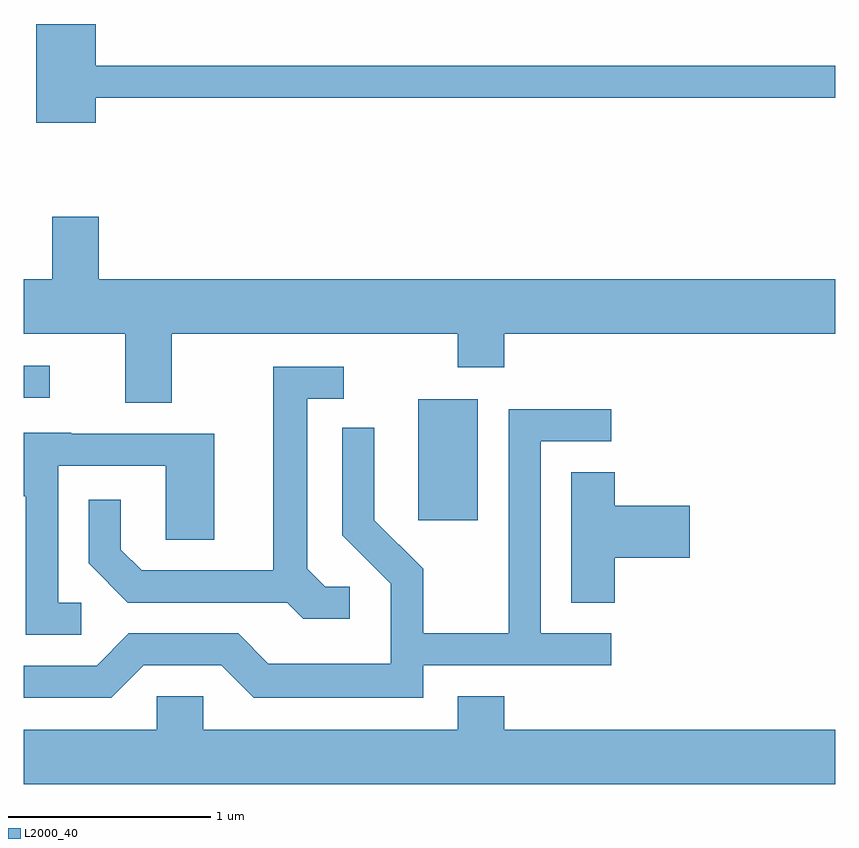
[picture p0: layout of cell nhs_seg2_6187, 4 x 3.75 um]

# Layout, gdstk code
import gdstk
lib = gdstk.Library(unit=1e-6, precision=1e-09)
def R(c, l, rs):  # rectangles x0, y0, x1, y1
    for r in rs: c.add(gdstk.rectangle(r[:2], r[2:], *l))
def P(c, l, *ps):  # polygons
    for p in ps: c.add(gdstk.Polygon(p, *l))
L2000_40 = (2000, 40)

nhs_seg2_6187 = lib.new_cell('nhs_seg2_6187')
R(nhs_seg2_6187, L2000_40, [(369.556,1045.176,369.849,1045.774), (367.611,1045.781,367.738,1045.939)])
P(nhs_seg2_6187, L2000_40, [(367.964,1047.261),(371.611,1047.261),(371.611,1047.419),(367.964,1047.419),(367.964,1047.624),(367.671,1047.624),(367.671,1047.136),(367.964,1047.136)],
  [(367.979,1046.674),(367.751,1046.674),(367.751,1046.364),(367.611,1046.364),(367.611,1046.096),(368.111,1046.096),(368.111,1045.756),(368.339,1045.756),(368.339,1046.096),(369.751,1046.096),(369.751,1045.931),(369.979,1045.931),(369.979,1046.096),(371.611,1046.096),(371.611,1046.364),(367.979,1046.364)],
  [(369.218,1044.849),(369.097,1044.849),(369.009,1044.937),(369.009,1045.776),(369.188,1045.776),(369.188,1045.934),(368.841,1045.934),(368.841,1044.929),(368.192,1044.929),(368.089,1045.032),(368.089,1045.277),(367.931,1045.277),(367.931,1044.964),(368.124,1044.771),(368.909,1044.771),(368.989,1044.691),(369.218,1044.691)],
  [(368.202,1044.461),(368.584,1044.461),(368.744,1044.301),(369.579,1044.301),(369.579,1044.461),(370.508,1044.461),(370.508,1044.619),(370.159,1044.619),(370.159,1045.566),(370.508,1045.566),(370.508,1045.724),(370.001,1045.724),(370.001,1044.619),(369.579,1044.619),(369.579,1044.937),(369.339,1045.177),(369.339,1045.632),(369.181,1045.632),(369.181,1045.103),(369.421,1044.863),(369.421,1044.469),(368.817,1044.469),(368.667,1044.619),(368.129,1044.619),(367.969,1044.459),(367.611,1044.459),(367.611,1044.301),(368.042,1044.301)],
  [(367.893,1044.769),(367.779,1044.769),(367.779,1045.446),(368.311,1045.446),(368.311,1045.081),(368.549,1045.081),(368.549,1045.604),(367.845,1045.604),(367.845,1045.609),(367.611,1045.609),(367.611,1045.296),(367.621,1045.296),(367.621,1044.611),(367.893,1044.611)],
  [(370.524,1044.991),(370.894,1044.991),(370.894,1045.249),(370.524,1045.249),(370.524,1045.414),(370.311,1045.414),(370.311,1044.771),(370.524,1044.771)],
  [(371.611,1044.144),(369.979,1044.144),(369.979,1044.309),(369.751,1044.309),(369.751,1044.144),(368.494,1044.144),(368.494,1044.309),(368.266,1044.309),(368.266,1044.144),(367.611,1044.144),(367.611,1043.876),(371.611,1043.876)])

lib.write_gds('nhs_seg2_6187.gds')
